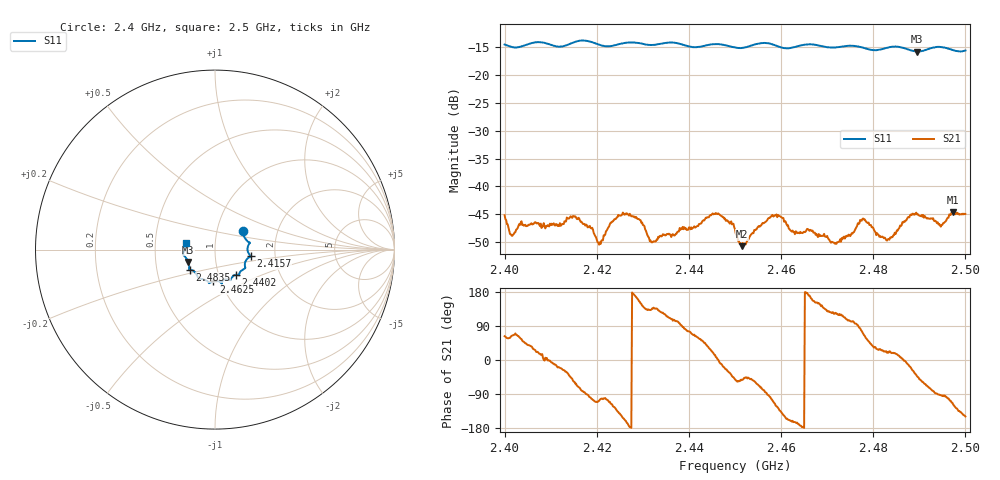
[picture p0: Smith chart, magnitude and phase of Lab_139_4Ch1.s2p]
# Hz S RI R 50
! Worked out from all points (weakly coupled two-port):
!   601 points, 2.4 GHz to 2.5 GHz, reference 50 ohm
!   highest |S21| = -44.60 dB at 2.4973 GHz (marker M1); lowest = -50.7 dB at 2.4515 GHz (marker M2)
!   lowest |S11| = -15.7 dB at 2.4895 GHz (marker M3), VSWR 1.39, Z = 36.8 - j5.15 ohm
!   |S11| at or under -10 dB: start of sweep to end of sweep
!   S12 and S22 are empty: the file has one direction only
!   S11 on the Smith chart (normalised r, x): 2.4 GHz: 1.33, +0.29; 2.4157 GHz: 1.49, -0.11; 2.4402 GHz: 1.20, -0.35; 2.4625 GHz: 0.92, -0.34; 2.4835 GHz: 0.74, -0.17; 2.5 GHz: 0.72, +0.05
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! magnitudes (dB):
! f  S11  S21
! 2.4 GHz  -14.5  -45.2
! 2.4017 GHz  -14.9  -48.9
! 2.4157 GHz  -13.9  -45.8
! 2.4167 GHz  -13.8  -46.3
! 2.4207 GHz  -14.6  -50.1
! 2.4267 GHz  -14.1  -45.0
! 2.4333 GHz  -14.4  -49.1
! 2.4402 GHz  -14.8  -47.4
! 2.446 GHz  -14.4  -44.9
! 2.45 GHz  -15.0  -47.7
! 2.4515 GHz  -15.1  -50.7
! 2.4585 GHz  -14.5  -45.3
! 2.4625 GHz  -15.0  -47.9
! 2.4667 GHz  -14.4  -48.0
! 2.4722 GHz  -15.0  -50.0
! 2.4777 GHz  -15.0  -45.8
! 2.4833 GHz  -15.0  -49.4
! 2.4835 GHz  -15.0  -49.6
! 2.4895 GHz  -15.7  -45.0
! 2.4947 GHz  -14.9  -47.2
! 2.4973 GHz  -15.5  -44.6
! 2.5 GHz  -15.5  -44.9
